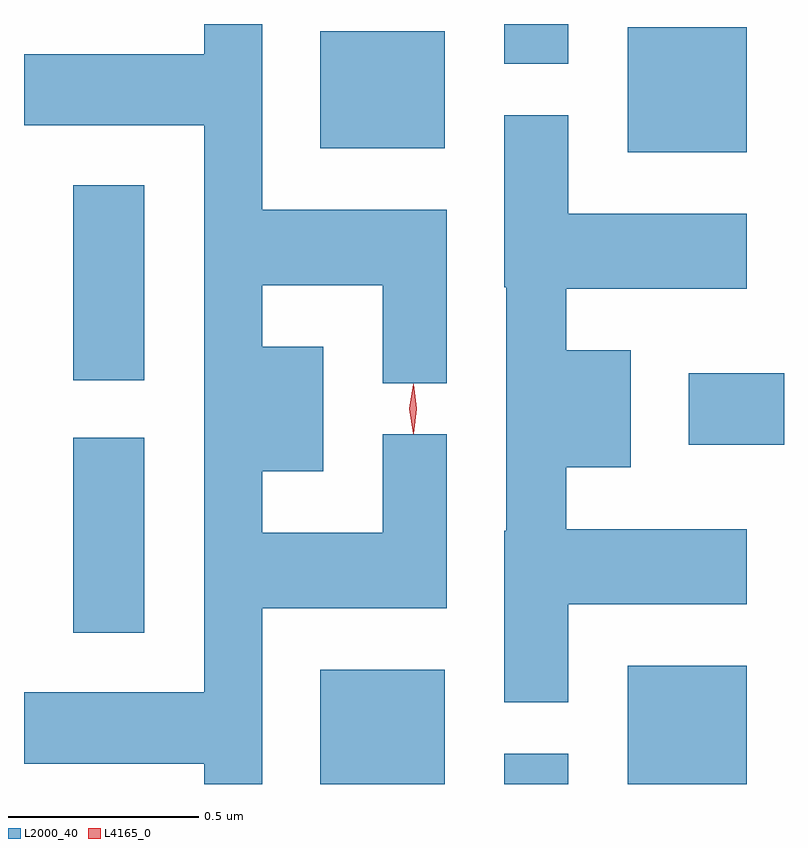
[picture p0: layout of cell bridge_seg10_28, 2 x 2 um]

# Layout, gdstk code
import gdstk
lib = gdstk.Library(unit=1e-6, precision=1e-09)
def R(c, l, rs):  # rectangles x0, y0, x1, y1
    for r in rs: c.add(gdstk.rectangle(r[:2], r[2:], *l))
def P(c, l, *ps):  # polygons
    for p in ps: c.add(gdstk.Polygon(p, *l))
L2000_40 = (2000, 40)
L4165_0 = (4165, 0)

bridge_seg10_28 = lib.new_cell('bridge_seg10_28')
R(bridge_seg10_28, L2000_40, [(1749.886,2176.583,1750.214,2176.884), (1750.371,2176.583,1750.539,2176.663), (1750.696,2176.583,1751.009,2176.894), (1749.236,2176.981,1749.424,2177.494), (1750.856,2177.476,1751.107,2177.664), (1749.236,2177.646,1749.424,2178.159), (1750.696,2178.246,1751.009,2178.574), (1749.886,2178.256,1750.214,2178.564), (1750.371,2178.478,1750.539,2178.583)])
P(bridge_seg10_28, L2000_40, [(1749.734,2177.046),(1750.219,2177.046),(1750.219,2177.503),(1750.051,2177.503),(1750.051,2177.244),(1749.734,2177.244),(1749.734,2177.406),(1749.894,2177.406),(1749.894,2177.734),(1749.734,2177.734),(1749.734,2177.896),(1750.051,2177.896),(1750.051,2177.638),(1750.219,2177.638),(1750.219,2178.094),(1749.734,2178.094),(1749.734,2178.583),(1749.581,2178.583),(1749.581,2178.504),(1749.107,2178.504),(1749.107,2178.316),(1749.581,2178.316),(1749.581,2176.824),(1749.107,2176.824),(1749.107,2176.636),(1749.581,2176.636),(1749.581,2176.583),(1749.734,2176.583)],
  [(1750.539,2177.056),(1751.009,2177.056),(1751.009,2177.254),(1750.534,2177.254),(1750.534,2177.416),(1750.704,2177.416),(1750.704,2177.724),(1750.534,2177.724),(1750.534,2177.886),(1751.009,2177.886),(1751.009,2178.084),(1750.539,2178.084),(1750.539,2178.343),(1750.371,2178.343),(1750.371,2177.89),(1750.376,2177.89),(1750.376,2177.25),(1750.371,2177.25),(1750.371,2176.798),(1750.539,2176.798)])
P(bridge_seg10_28, L4165_0, [(1750.131,2177.504),(1750.131,2177.505),(1750.121,2177.57),(1750.131,2177.635),(1750.131,2177.636),(1750.132,2177.635),(1750.141,2177.57),(1750.132,2177.505)])

lib.write_gds('bridge_seg10_28.gds')
